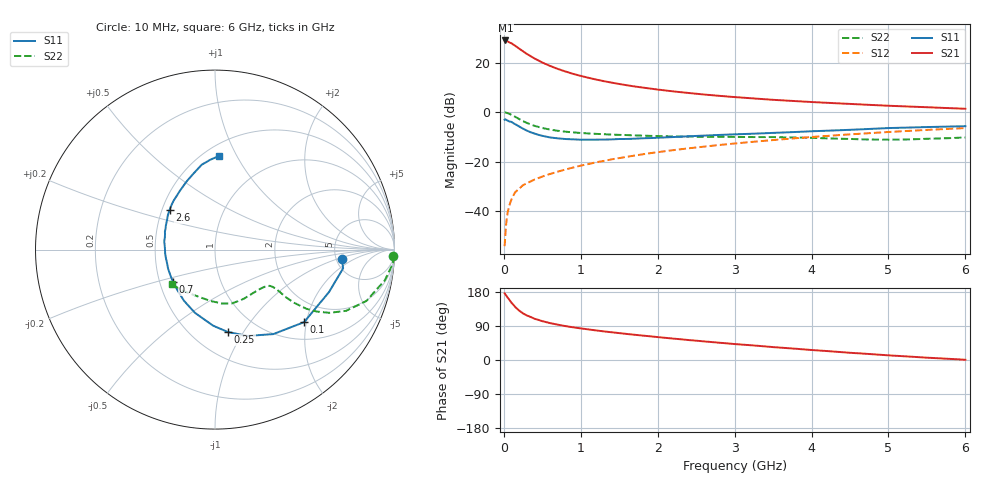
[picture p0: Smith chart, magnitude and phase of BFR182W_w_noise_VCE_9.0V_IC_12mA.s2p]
! Infineon Technologies  Discrete & RF Semiconductors
! BFR182W
! VCE =  9.0 V,  IC =  12 mA
! Common Emitter S-Parameters:  Jan 2017
# GHz  S  MA  R  50
!  f  S11  S21  S12  S22
! GHz  MAG  ANG  MAG  ANG  MAG  ANG  MAG  ANG
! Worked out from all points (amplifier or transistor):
!   77 points, 10 MHz to 6 GHz, reference 50 ohm
!   highest |S21| = 29.2 dB at 20 MHz (marker M1)
!   |S21| within 3 dB of that: start of sweep to 185.2 MHz
!   unconditionally stable (mu >= 1): 1.03 GHz to 2.608 GHz
!   at 130 MHz: K = 0.32, MSG = 30.4 dB, |S12| = -33.5 dB
!   at 2.2 GHz: K = 1.02, MAG = 11.1 dB, |S12| = -15.4 dB
!   at 6 GHz: K = 0.86, MSG = 3.9 dB, |S12| = -6.4 dB
!   lowest NFmin = 1.14 dB at 450 MHz
!   S11 on the Smith chart (normalised r, x): 10 MHz: 5.63, -1.15; 100 MHz: 1.41, -1.94; 250 MHz: 0.73, -0.86; 700 MHz: 0.59, -0.23; 2.6 GHz: 0.55, +0.27; 6 GHz: 0.59, +0.85
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0.01  0.709 -4.1  28.72 176.0  0.0019 86.0  0.9925 -2.0
0.02  0.7214 -8.3  28.9 173.2  0.0033 95.2  0.9951 -4.3
0.05  0.6779 -20.4  27.62 164.4  0.0093 80.6  0.9618 -10.2
0.1  0.64 -39.2  25.27 150.8  0.0171 72.6  0.8913 -18.7
0.15  0.5719 -55.4  22.4 139.4  0.024 67.4  0.8069 -25.0
0.2  0.5143 -69.3  19.69 130.3  0.028 65.0  0.7287 -28.9
0.25  0.4648 -81.1  17.37 122.9  0.0332 61.7  0.6625 -31.4
0.3  0.4241 -91.4  15.35 117.4  0.0361 61.4  0.6069 -32.9
0.4  0.3692 -107.7  12.39 108.7  0.043 61.6  0.5301 -33.9
0.5  0.3329 -121.4  10.29 102.5  0.0493 62.3  0.4795 -33.9
0.6  0.3083 -132.8  8.785 97.4  0.0558 63.5  0.4452 -33.4
0.7  0.2958 -142.1  7.638 93.3  0.062 64.5  0.4214 -33.0
0.9  0.2823 -157.7  6.05 86.3  0.0753 66.0  0.3909 -32.8
1.1  0.2777 -170.5  5.031 80.7  0.0887 67.1  0.3722 -33.2
1.3  0.279 178.8  4.298 75.5  0.1027 67.3  0.3588 -34.4
1.5  0.2866 170.8  3.766 71.0  0.1173 67.3  0.3477 -36.3
2.1  0.309 151.1  2.783 58.5  0.1623 65.4  0.3263 -45.1
2.6  0.336 138.8  2.303 49.1  0.2003 63.0  0.3182 -54.9
3.1  0.361 128.3  1.989 40.6  0.2403 59.6  0.3149 -64.7
4.1  0.417 111.1  1.59 25.0  0.3227 51.9  0.2991 -84.8
5.1  0.4828 97.7  1.341 11.1  0.4059 42.8  0.2787 -114.0
6  0.5229 87.4  1.181 0.6  0.4785 33.9  0.3086 -141.0
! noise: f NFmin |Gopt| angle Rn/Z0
0.45  1.14  0.05  71  0.15
0.9  1.22  0.06  102  0.15
1.9  1.71  0.21  -156  0.14
2.4  1.97  0.2  -143  0.21
